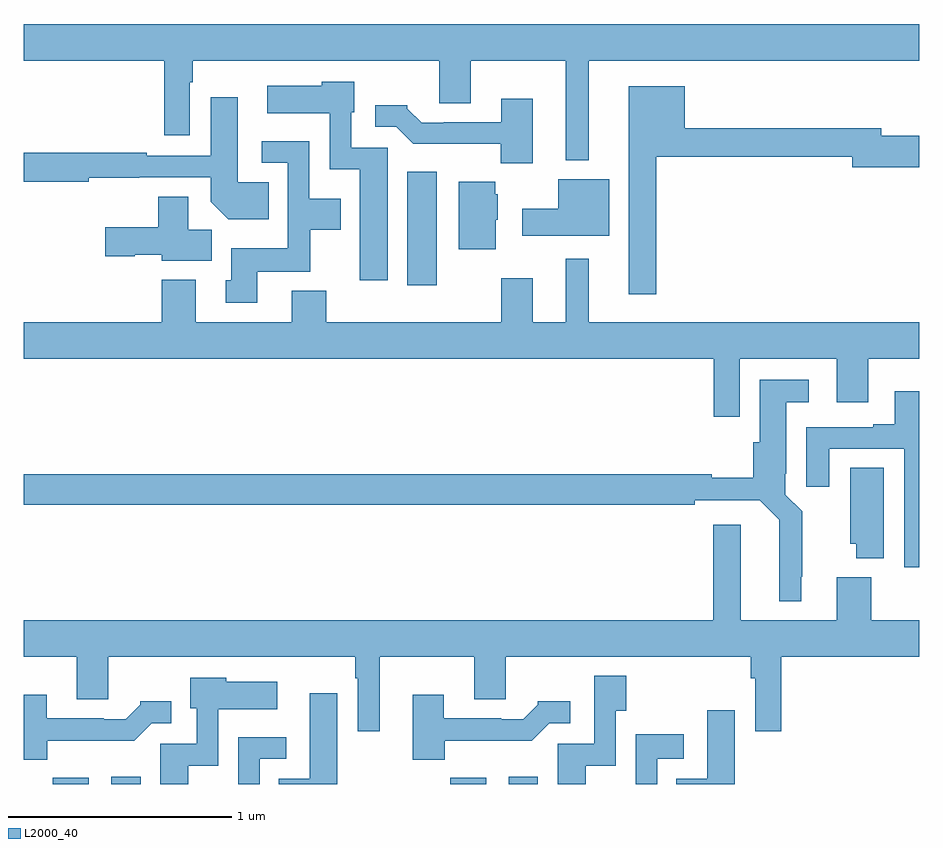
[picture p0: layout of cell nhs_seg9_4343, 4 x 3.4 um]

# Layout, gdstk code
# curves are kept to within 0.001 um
import gdstk
lib = gdstk.Library(unit=1e-6, precision=1e-09)
def R(c, l, rs):  # rectangles x0, y0, x1, y1
    for r in rs: c.add(gdstk.rectangle(r[:2], r[2:], *l))
def P(c, l, *ps):  # polygons
    for p in ps: c.add(gdstk.Polygon(p, *l))
L2000_40 = (2000, 40)

nhs_seg9_4343 = lib.new_cell('nhs_seg9_4343')
R(nhs_seg9_4343, L2000_40, [(359.128,1214.5,359.29,1214.527), (359.39,1214.5,359.521,1214.533), (360.904,1214.5,361.066,1214.527), (361.166,1214.5,361.297,1214.533), (360.713,1216.728,360.844,1217.236)])
P(nhs_seg9_4343, L2000_40, [(359,1217.732),(359.626,1217.732),(359.626,1217.4),(359.742,1217.4),(359.742,1217.636),(359.755,1217.636),(359.755,1217.732),(360.857,1217.732),(360.857,1217.542),(360.997,1217.542),(360.997,1217.732),(361.421,1217.732),(361.421,1217.288),(361.525,1217.288),(361.525,1217.732),(363,1217.732),(363,1217.896),(359,1217.896)],
  [(360.625,1217.343),(360.462,1217.343),(360.462,1217.502),(360.475,1217.502),(360.475,1217.638),(360.33,1217.638),(360.33,1217.62),(360.087,1217.62),(360.087,1217.498),(360.366,1217.498),(360.366,1217.246),(360.5,1217.246),(360.5,1216.752),(360.625,1216.752)],
  [(361.825,1217.302),(362.702,1217.302),(362.702,1217.255),(363,1217.255),(363,1217.397),(362.83,1217.397),(362.83,1217.431),(361.954,1217.431),(361.954,1217.617),(361.703,1217.617),(361.703,1216.689),(361.825,1216.689)],
  [(360.095,1217.188),(359.956,1217.188),(359.956,1217.569),(359.834,1217.569),(359.834,1217.307),(359.549,1217.307),(359.549,1217.32),(359,1217.32),(359,1217.191),(359.289,1217.191),(359.289,1217.209),(359.516,1217.209),(359.516,1217.211),(359.834,1217.211),(359.834,1217.102),(359.912,1217.024),(360.095,1217.024)],
  [(361.273,1217.563),(361.133,1217.563),(361.133,1217.457),(360.877,1217.457),(360.877,1217.454),(360.778,1217.454),(360.714,1217.518),(360.714,1217.533),(360.57,1217.533),(360.57,1217.436),(360.663,1217.436),(360.739,1217.36),(361.131,1217.36),(361.131,1217.273),(361.273,1217.273)],
  [(360.043,1216.79),(360.279,1216.79),(360.279,1216.976),(360.415,1216.976),(360.415,1217.116),(360.276,1217.116),(360.276,1217.373),(360.063,1217.373),(360.063,1217.277),(360.18,1217.277),(360.18,1216.894),(359.927,1216.894),(359.927,1216.752),(359.903,1216.752),(359.903,1216.65),(360.043,1216.65)],
  [(361.615,1217.203),(361.388,1217.203),(361.388,1217.071),(361.227,1217.071),(361.227,1216.949),(361.615,1216.949)],
  [(361.108,1217.022),(361.117,1217.022),(361.117,1217.136),(361.106,1217.136),(361.106,1217.191),(360.944,1217.191),(360.944,1216.89),(361.108,1216.89)],
  [(359.839,1216.976),(359.734,1216.976),(359.734,1217.125),(359.6,1217.125),(359.6,1216.987),(359.364,1216.987),(359.364,1216.858),(359.496,1216.858),(359.496,1216.865),(359.616,1216.865),(359.616,1216.838),(359.839,1216.838)],
  [(362.199,1216.4),(362.633,1216.4),(362.633,1216.206),(362.773,1216.206),(362.773,1216.4),(363,1216.4),(363,1216.564),(361.525,1216.564),(361.525,1216.846),(361.421,1216.846),(361.421,1216.564),(361.273,1216.564),(361.273,1216.759),(361.133,1216.759),(361.133,1216.564),(360.35,1216.564),(360.35,1216.705),(360.197,1216.705),(360.197,1216.564),(359.767,1216.564),(359.767,1216.753),(359.615,1216.753),(359.615,1216.564),(359,1216.564),(359,1216.4),(362.083,1216.4),(362.083,1216.14),(362.199,1216.14)],
  [(362.473,1215.427),(362.477,1215.427),(362.477,1215.718),(362.403,1215.792),(362.403,1215.886),(362.407,1215.886),(362.407,1216.205),(362.506,1216.205),(362.506,1216.306),(362.288,1216.306),(362.288,1216.026),(362.258,1216.026),(362.258,1215.869),(362.074,1215.869),(362.074,1215.884),(359,1215.884),(359,1215.748),(361.997,1215.748),(361.997,1215.768),(362.288,1215.768),(362.376,1215.68),(362.375,1215.317),(362.473,1215.317)],
  [(363,1216.255),(362.891,1216.255),(362.891,1216.108),(362.795,1216.108),(362.795,1216.095),(362.495,1216.095),(362.495,1215.828),(362.599,1215.828),(362.599,1215.999),(362.933,1215.999),(362.933,1215.468),(363,1215.468)],
  [(362.842,1215.914),(362.693,1215.914),(362.693,1215.573),(362.72,1215.573),(362.72,1215.509),(362.842,1215.509)],
  [(360.589,1215.068),(361.013,1215.068),(361.013,1214.878),(361.153,1214.878),(361.153,1215.068),(362.248,1215.068),(362.248,1214.972),(362.268,1214.972),(362.268,1214.736),(362.384,1214.736),(362.384,1215.068),(363,1215.068),(363,1215.232),(362.786,1215.232),(362.786,1215.424),(362.633,1215.424),(362.633,1215.232),(362.203,1215.232),(362.203,1215.658),(362.081,1215.658),(362.081,1215.232),(359,1215.232),(359,1215.068),(359.237,1215.068),(359.237,1214.878),(359.377,1214.878),(359.377,1215.068),(360.48,1215.068),(360.48,1214.972),(360.492,1214.972),(360.492,1214.736),(360.589,1214.736)],
  [(361.51,1214.582),(361.644,1214.582),(361.644,1214.827),(361.692,1214.827),(361.692,1214.983),(361.548,1214.983),(361.548,1214.679),(361.385,1214.679),(361.385,1214.5),(361.51,1214.5)],
  [(359.734,1214.582),(359.868,1214.582),(359.868,1214.834),(360.133,1214.834),(360.133,1214.956),(359.904,1214.956),(359.904,1214.974),(359.744,1214.974),(359.744,1214.838),(359.772,1214.838),(359.772,1214.679),(359.609,1214.679),(359.609,1214.5),(359.734,1214.5)],
  [(360.4,1214.905),(360.278,1214.905),(360.278,1214.524),(360.139,1214.524),(360.139,1214.5),(360.4,1214.5)],
  [(360.88,1214.694),(361.269,1214.694),(361.347,1214.772),(361.441,1214.772),(361.441,1214.869),(361.296,1214.869),(361.296,1214.854),(361.232,1214.79),(361.133,1214.79),(361.133,1214.793),(360.877,1214.793),(360.877,1214.899),(360.737,1214.899),(360.737,1214.609),(360.88,1214.609)],
  [(359.104,1214.694),(359.493,1214.694),(359.571,1214.772),(359.659,1214.772),(359.659,1214.869),(359.52,1214.869),(359.52,1214.854),(359.456,1214.79),(359.357,1214.79),(359.357,1214.793),(359.101,1214.793),(359.101,1214.899),(359,1214.899),(359,1214.609),(359.104,1214.609)],
  [(362.176,1214.83),(362.054,1214.83),(362.054,1214.524),(361.915,1214.524),(361.915,1214.5),(362.176,1214.5)],
  [(361.83,1214.613),(361.948,1214.613),(361.948,1214.722),(361.734,1214.722),(361.734,1214.5),(361.83,1214.5)],
  [(360.054,1214.613),(360.172,1214.613),(360.172,1214.709),(359.958,1214.709),(359.958,1214.5),(360.054,1214.5)])

lib.write_gds('nhs_seg9_4343.gds')
